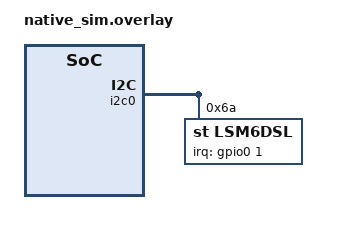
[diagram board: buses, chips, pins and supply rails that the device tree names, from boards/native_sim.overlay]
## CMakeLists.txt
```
# Copyright (c) 2026 Arkadiusz Grzelka
# SPDX-License-Identifier: Apache-2.0

cmake_minimum_required(VERSION 3.20.0)
find_package(Zephyr REQUIRED HINTS $ENV{ZEPHYR_BASE})
project(lsm6dsl)

zephyr_include_directories(${ZEPHYR_BASE}/drivers/sensor/st/lsm6dsl)

target_sources(app PRIVATE src/main.c)
```

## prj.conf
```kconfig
# Copyright (c) 2026 Arkadiusz Grzelka
# SPDX-License-Identifier: Apache-2.0

CONFIG_ZTEST=y

CONFIG_GPIO=y
CONFIG_GPIO_EMUL=y

CONFIG_I2C=y
CONFIG_I2C_EMUL=y

CONFIG_SENSOR=y
CONFIG_EMUL=y

CONFIG_LSM6DSL=y
CONFIG_LSM6DSL_TRIGGER_GLOBAL_THREAD=y
```

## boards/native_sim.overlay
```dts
/* Copyright (c) 2026 Arkadiusz Grzelka
 * SPDX-License-Identifier: Apache-2.0
 */

/ {
	aliases {
		lsm6dsl = &lsm6dsl;
	};
};

&i2c0 {
	status = "okay";

	lsm6dsl: lsm6dsl@6a {
		compatible = "st,lsm6dsl";
		reg = <0x6a>;
		irq-gpios = <&gpio0 1 GPIO_ACTIVE_HIGH>;
	};
};
```

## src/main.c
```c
/*
 * SPDX-FileCopyrightText: Copyright The Zephyr Project Contributors
 * Copyright (c) 2026 Arkadiusz Grzelka
 *
 * SPDX-License-Identifier: Apache-2.0
 */

#include <zephyr/device.h>
#include <zephyr/devicetree.h>
#include <zephyr/drivers/emul.h>
#include <zephyr/drivers/gpio.h>
#include <zephyr/drivers/gpio/gpio_emul.h>
#include <zephyr/drivers/sensor.h>
#include <zephyr/fff.h>
#include <zephyr/kernel.h>
#include <zephyr/ztest.h>

#define DT_DRV_COMPAT st_lsm6dsl

#include "lsm6dsl.h"
#include "lsm6dsl_emul.h"

#define LSM6DSL_NODE DT_ALIAS(lsm6dsl)

#define INT1_DRDY_MASK (LSM6DSL_MASK_INT1_CTRL_DRDY_XL | LSM6DSL_MASK_INT1_CTRL_DRDY_G)

/*
 * Every wait below carries a timeout and every one is asserted on, so a
 * regression that costs a callback fails the case instead of stalling it. One
 * regression escapes that: a driver that captures the cooperative system
 * workqueue stops the simulated clock with it, and no timeout can expire.
 * test_no_handler_does_not_spin is the case that relies on it, and says so.
 */
#define WAIT_TIMEOUT  K_MSEC(500)
#define QUIET_TIMEOUT K_MSEC(50)
#define SETTLE_TIME   K_MSEC(20)

DEFINE_FFF_GLOBALS;

static const struct device *const lsm6dsl_dev = DEVICE_DT_GET(LSM6DSL_NODE);
static const struct emul *const lsm6dsl_emul = EMUL_DT_GET(LSM6DSL_NODE);
static const struct gpio_dt_spec int_gpio = GPIO_DT_SPEC_GET(LSM6DSL_NODE, irq_gpios);

static const struct sensor_trigger drdy_trigger = {
	.type = SENSOR_TRIG_DATA_READY,
	.chan = SENSOR_CHAN_ALL,
};

static const struct sensor_trigger accel_drdy_trigger = {
	.type = SENSOR_TRIG_DATA_READY,
	.chan = SENSOR_CHAN_ACCEL_XYZ,
};

static const struct sensor_trigger gyro_drdy_trigger = {
	.type = SENSOR_TRIG_DATA_READY,
	.chan = SENSOR_CHAN_GYRO_XYZ,
};

/* Data ready is reported per channel, but never for the die temperature. */
static const struct sensor_trigger die_temp_drdy_trigger = {
	.type = SENSOR_TRIG_DATA_READY,
	.chan = SENSOR_CHAN_DIE_TEMP,
};

static K_SEM_DEFINE(handler_sem, 0, K_SEM_MAX_LIMIT);
static K_SEM_DEFINE(probe_sem, 0, 1);

/* Result of the sensor_trigger_set() a handler performs on itself. */
static int remove_trigger_result;

FAKE_VOID_FUNC(drdy_handler, const struct device *, const struct sensor_trigger *);

/*
 * Drive the emulated INT1 pin and keep STATUS_REG in step with it, so the
 * register file the driver can read never contradicts the line it sees.
 */
static void drive_int_line(bool asserted)
{
	(void)gpio_emul_input_set(int_gpio.port, int_gpio.pin, asserted ? 1 : 0);
	lsm6dsl_emul_set_data_ready(lsm6dsl_emul, asserted);
}

/* A handler that reads the sample: data ready is consumed and the line goes idle. */
static void handler_reads_sample(const struct device *dev, const struct sensor_trigger *trig)
{
	ARG_UNUSED(dev);
	ARG_UNUSED(trig);

	drive_int_line(false);
	k_sem_give(&handler_sem);
}

/*
 * A read that clears data ready with the next sample completing right behind it.
 * The line ends up asserted again while the driver still has the interrupt
 * masked, so the rising edge is never presented to the interrupt controller and
 * only a re-read of the line can recover the sample.
 */
static void handler_reads_sample_and_races(const struct device *dev,
					   const struct sensor_trigger *trig)
{
	ARG_UNUSED(dev);
	ARG_UNUSED(trig);

	drive_int_line(false);

	if (drdy_handler_fake.call_count == 1) {
		drive_int_line(true);
	}

	k_sem_give(&handler_sem);
}

/* A handler that drops the trigger while the line is still asserted. */
static void handler_removes_trigger(const struct device *dev, const struct sensor_trigger *trig)
{
	remove_trigger_result = sensor_trigger_set(dev, trig, NULL);
	k_sem_give(&handler_sem);
}

static void probe_work_handler(struct k_work *work)
{
	ARG_UNUSED(work);

	k_sem_give(&probe_sem);
}

static K_WORK_DEFINE(probe_work, probe_work_handler);

/* Read back the data ready routing the driver programmed into INT1_CTRL. */
static uint8_t int1_drdy_routing(void)
{
	uint8_t val;

	zassert_ok(lsm6dsl_emul_get_reg(lsm6dsl_emul, LSM6DSL_REG_INT1_CTRL, &val),
		   "INT1_CTRL is outside the emulated register file");

	return val & INT1_DRDY_MASK;
}

/* INT1_CTRL as initialisation left it, sampled before any case has run. */
static uint8_t post_init_int1_routing;

static void *lsm6dsl_suite_setup(void)
{
	zassert_not_null(lsm6dsl_emul, "no emulator registered for the lsm6dsl node");
	zassert_true(device_is_ready(lsm6dsl_dev), "lsm6dsl device is not ready");
	zassert_true(gpio_is_ready_dt(&int_gpio), "the emulated interrupt line is not ready");
	zassert_ok(gpio_emul_input_set(int_gpio.port, int_gpio.pin, 0),
		   "the interrupt line cannot be driven");

	post_init_int1_routing = int1_drdy_routing();

	return NULL;
}

static void lsm6dsl_before(void *unused)
{
	ARG_UNUSED(unused);

	RESET_FAKE(drdy_handler);
	k_sem_reset(&handler_sem);
	k_sem_reset(&probe_sem);
	remove_trigger_result = -EAGAIN;
	drive_int_line(false);
}

static void lsm6dsl_after(void *unused)
{
	ARG_UNUSED(unused);

	/*
	 * Idle the line and let anything already queued drain before disarming,
	 * so a work item still in flight cannot re-enable the interrupt behind
	 * the next case.
	 */
	drive_int_line(false);
	k_sleep(SETTLE_TIME);
	(void)sensor_trigger_set(lsm6dsl_dev, &drdy_trigger, NULL);
}

ZTEST_SUITE(lsm6dsl_trigger, NULL, lsm6dsl_suite_setup, lsm6dsl_before, lsm6dsl_after, NULL);

/*
 * Regression anchor. Initialisation must leave INT1 unrouted: routing a source
 * before a handler exists asserts the line with nobody to consume it, and the
 * part latches data ready, so the line then stays asserted for good.
 *
 * The value is the one sampled in the suite setup rather than a fresh read.
 * Removing a trigger clears the routing too, so a read taken here would pass
 * on the strength of the previous case's teardown whatever initialisation did.
 */
ZTEST(lsm6dsl_trigger, test_init_does_not_route_int1)
{
	zassert_equal(post_init_int1_routing, 0,
		      "initialisation routed data ready to INT1 before a handler was "
		      "installed: INT1_CTRL data ready bits are 0x%02x",
		      post_init_int1_routing);
}

ZTEST(lsm6dsl_trigger, test_accel_trigger_routes_only_the_accel_source)
{
	zassert_ok(sensor_trigger_set(lsm6dsl_dev, &accel_drdy_trigger, drdy_handler));

	zassert_equal(int1_drdy_routing(), LSM6DSL_MASK_INT1_CTRL_DRDY_XL,
		      "an accelerometer trigger routed 0x%02x to INT1", int1_drdy_routing());
}

ZTEST(lsm6dsl_trigger, test_gyro_trigger_routes_only_the_gyro_source)
{
	zassert_ok(sensor_trigger_set(lsm6dsl_dev, &gyro_drdy_trigger, drdy_handler));

	zassert_equal(int1_drdy_routing(), LSM6DSL_MASK_INT1_CTRL_DRDY_G,
		      "a gyroscope trigger routed 0x%02x to INT1", int1_drdy_routing());
}

ZTEST(lsm6dsl_trigger, test_all_channels_route_both_sources)
{
	zassert_ok(sensor_trigger_set(lsm6dsl_dev, &drdy_trigger, drdy_handler));

	zassert_equal(int1_drdy_routing(), INT1_DRDY_MASK,
		      "a whole device trigger routed 0x%02x to INT1", int1_drdy_routing());
}

/*
 * A channel the part reports no data ready for is refused, and the refusal is
 * decided before anything is written: the routing already in place survives it.
 */
ZTEST(lsm6dsl_trigger, test_an_unsupported_channel_is_refused)
{
	uint8_t before;

	zassert_ok(sensor_trigger_set(lsm6dsl_dev, &accel_drdy_trigger, drdy_handler));
	before = int1_drdy_routing();

	zassert_equal(sensor_trigger_set(lsm6dsl_dev, &die_temp_drdy_trigger, drdy_handler),
		      -ENOTSUP, "a die temperature trigger was accepted");
	zassert_equal(int1_drdy_routing(), before,
		      "the refused trigger changed the routing from 0x%02x to 0x%02x", before,
		      int1_drdy_routing());
}

ZTEST(lsm6dsl_trigger, test_removing_the_trigger_clears_the_routing)
{
	zassert_ok(sensor_trigger_set(lsm6dsl_dev, &drdy_trigger, drdy_handler));
	zassert_equal(int1_drdy_routing(), INT1_DRDY_MASK, "the trigger was not routed to INT1");

	zassert_ok(sensor_trigger_set(lsm6dsl_dev, &drdy_trigger, NULL));

	zassert_equal(int1_drdy_routing(), 0,
		      "removing the trigger left 0x%02x routed to INT1", int1_drdy_routing());
}

/* Baseline: one edge on the interrupt line produces exactly one callback. */
ZTEST(lsm6dsl_trigger, test_trigger_fires_on_edge)
{
	drdy_handler_fake.custom_fake = handler_reads_sample;

	zassert_ok(sensor_trigger_set(lsm6dsl_dev, &drdy_trigger, drdy_handler));

	drive_int_line(true);

	zassert_ok(k_sem_take(&handler_sem, WAIT_TIMEOUT),
		   "the data ready handler never ran for the first edge");
	zassert_equal(k_sem_take(&handler_sem, QUIET_TIMEOUT), -EAGAIN,
		      "the handler ran more than once for a single edge");
	zassert_equal(drdy_handler_fake.call_count, 1, "expected 1 callback, got %d",
		      drdy_handler_fake.call_count);
}

/*
 * Regression anchor. A sample completes while the driver has the interrupt
 * masked, so its edge is lost. Data ready is latched on the part, which means
 * the line stays asserted and no further edge will ever arrive: unless the
 * driver re-reads the line after re-arming, acquisition stops for good.
 */
ZTEST(lsm6dsl_trigger, test_sample_landing_in_the_masked_window_is_not_lost)
{
	drdy_handler_fake.custom_fake = handler_reads_sample_and_races;

	zassert_ok(sensor_trigger_set(lsm6dsl_dev, &drdy_trigger, drdy_handler));

	drive_int_line(true);

	zassert_ok(k_sem_take(&handler_sem, WAIT_TIMEOUT),
		   "the data ready handler never ran for the first edge");
	zassert_ok(k_sem_take(&handler_sem, WAIT_TIMEOUT),
		   "the sample that completed while the interrupt was masked was lost: "
		   "the driver re-armed the edge interrupt without re-reading the line");
	zassert_equal(drdy_handler_fake.call_count, 2, "expected 2 callbacks, got %d",
		      drdy_handler_fake.call_count);
}

/*
 * The trigger is removed from inside the handler, leaving the line asserted.
 * The driver re-arms after the handler returns and must not chase an interrupt
 * it no longer has a handler for: doing so would resubmit work forever and
 * capture the cooperative system workqueue.
 *
 * The probe below is the assertion, and it reports the regression as a hang
 * rather than a failure. That is not an oversight: the simulated clock only
 * advances when the CPU goes idle, so a cooperative work item that never
 * yields also stops time, and no timeout placed here could expire. Twister
 * reports the case as a timeout. Do not replace the probe with a bounded wait
 * expecting a tidier failure - there is none to be had.
 */
ZTEST(lsm6dsl_trigger, test_no_handler_does_not_spin)
{
	drdy_handler_fake.custom_fake = handler_removes_trigger;

	zassert_ok(sensor_trigger_set(lsm6dsl_dev, &drdy_trigger, drdy_handler));

	drive_int_line(true);

	zassert_ok(k_sem_take(&handler_sem, WAIT_TIMEOUT),
		   "the data ready handler never ran for the first edge");
	zassert_ok(remove_trigger_result, "removing the trigger from the handler failed");
	zassert_equal(gpio_pin_get_dt(&int_gpio), 1, "the interrupt line should still be asserted");

	zassert_true(k_work_submit(&probe_work) >= 0, "could not queue the probe work item");
	zassert_ok(k_sem_take(&probe_sem, WAIT_TIMEOUT),
		   "the system workqueue is captured: the driver kept servicing a trigger "
		   "that has no handler");
	zassert_equal(drdy_handler_fake.call_count, 1, "expected 1 callback, got %d",
		      drdy_handler_fake.call_count);
}
```
